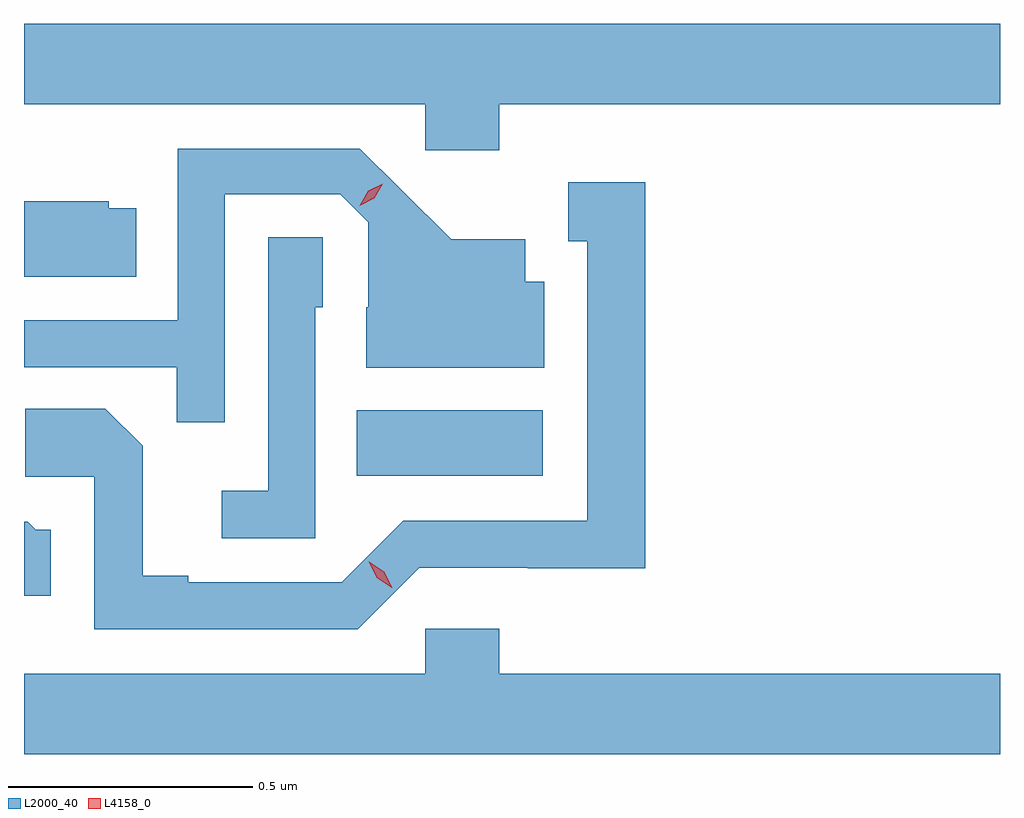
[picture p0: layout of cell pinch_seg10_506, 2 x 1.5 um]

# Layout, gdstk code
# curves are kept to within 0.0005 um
import gdstk
lib = gdstk.Library(unit=1e-6, precision=1e-09)
def R(c, l, rs):  # rectangles x0, y0, x1, y1
    for r in rs: c.add(gdstk.rectangle(r[:2], r[2:], *l))
def P(c, l, *ps):  # polygons
    for p in ps: c.add(gdstk.Polygon(p, *l))
L2000_40 = (2000, 40)
L4158_0 = (4158, 0)

pinch_seg10_506 = lib.new_cell('pinch_seg10_506')
R(pinch_seg10_506, L2000_40, [(314.524,1307.546,314.905,1307.68)])
P(pinch_seg10_506, L2000_40, [(314.816,1308.308),(315.842,1308.308),(315.842,1308.472),(313.842,1308.472),(313.842,1308.308),(314.664,1308.308),(314.664,1308.213),(314.816,1308.213)],
  [(314.253,1308.123),(314.49,1308.123),(314.547,1308.066),(314.547,1307.892),(314.543,1307.892),(314.543,1307.768),(314.908,1307.768),(314.908,1307.944),(314.869,1307.944),(314.869,1308.031),(314.717,1308.031),(314.53,1308.216),(314.157,1308.216),(314.157,1307.865),(313.842,1307.865),(313.842,1307.769),(314.155,1307.769),(314.155,1307.656),(314.253,1307.656)],
  [(314.652,1307.358),(314.874,1307.358),(314.874,1307.357),(315.115,1307.357),(315.115,1308.148),(314.957,1308.148),(314.957,1308.027),(314.996,1308.027),(314.996,1307.454),(314.619,1307.454),(314.493,1307.328),(314.179,1307.328),(314.179,1307.341),(314.085,1307.341),(314.085,1307.608),(314.009,1307.684),(313.845,1307.684),(313.845,1307.544),(313.986,1307.544),(313.986,1307.232),(314.526,1307.232)],
  [(314.072,1308.094),(314.016,1308.094),(314.016,1308.109),(313.842,1308.109),(313.842,1307.954),(314.072,1307.954)],
  [(314.439,1307.892),(314.454,1307.892),(314.454,1308.035),(314.343,1308.035),(314.343,1307.515),(314.247,1307.515),(314.247,1307.418),(314.439,1307.418)],
  [(313.897,1307.436),(313.866,1307.436),(313.85,1307.452),(313.842,1307.452),(313.842,1307.3),(313.897,1307.3)],
  [(315.842,1307.14),(314.816,1307.14),(314.816,1307.233),(314.664,1307.233),(314.664,1307.14),(313.842,1307.14),(313.842,1306.976),(315.842,1306.976)])
P(pinch_seg10_506, L4158_0, [(314.596,1307.317),(314.565,1307.337),(314.548,1307.37),(314.548,1307.37),(314.549,1307.37),(314.58,1307.35),(314.597,1307.317),(314.597,1307.317)],
  [(314.53,1308.1),(314.53,1308.1),(314.547,1308.13),(314.577,1308.145),(314.577,1308.145),(314.577,1308.145),(314.56,1308.115),(314.53,1308.1)])

lib.write_gds('pinch_seg10_506.gds')
